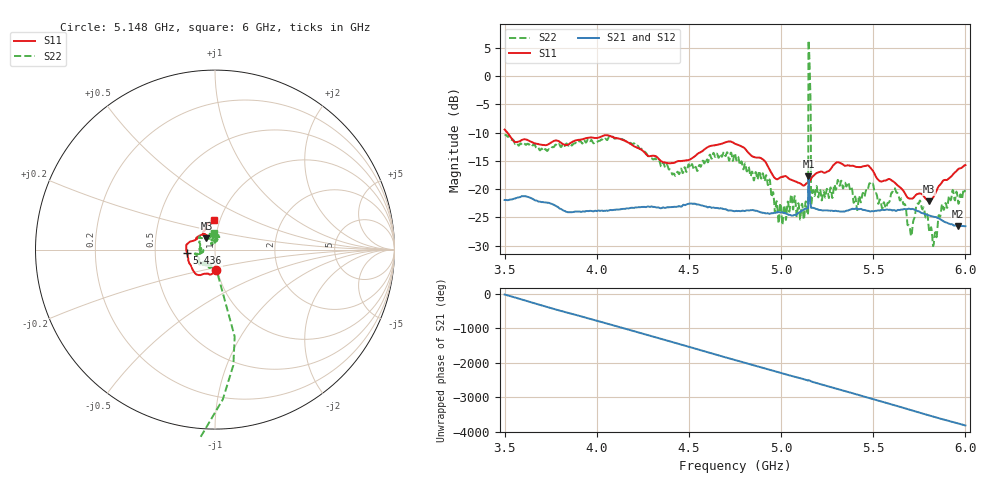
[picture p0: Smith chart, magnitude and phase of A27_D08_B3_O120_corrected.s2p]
! Created with skrf 1.9.0 (http://scikit-rf.org).
# Hz S RI R 50.0
!freq ReS11 ImS11 ReS21 ImS21 ReS12 ImS12 ReS22 ImS22
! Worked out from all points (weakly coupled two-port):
!   1601 points, 3.5 GHz to 6 GHz, reference 50 ohm
!   highest |S21| = -17.72 dB at 5.148 GHz (marker M1); lowest = -26.6 dB at 5.959 GHz (marker M2)
!   lowest |S11| = -22.1 dB at 5.803 GHz (marker M3), VSWR 1.17, Z = 45.1 + j5.62 ohm
!   |S11| at or under -10 dB: 3.515 GHz to end of sweep
!   |S22| runs from -30.1 to 6.3 dB; largest |S21 - S12| = 0.0011
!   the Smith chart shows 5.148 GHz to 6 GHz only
!   S11 on the Smith chart (normalised r, x): 5.148 GHz: 0.99, -0.23; 5.436 GHz: 0.73, -0.03; 6 GHz: 0.93, +0.31
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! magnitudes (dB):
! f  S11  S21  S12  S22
! 3.5 GHz  -9.5  -21.9  -21.9  -10.5
! 3.917 GHz  -11.2  -24.0  -24.0  -11.8
! 4.334 GHz  -14.6  -23.2  -23.2  -14.9
! 4.75 GHz  -12.0  -23.9  -23.8  -13.7
! 4.928 GHz  -16.0  -24.3  -24.3  -19.3
! 4.997 GHz  -17.9  -24.1  -24.1  -22.5
! 5.114 GHz  -19.2  -23.8  -23.8  -22.6
! 5.134 GHz  -19.1  -23.4  -23.4  -22.2
! 5.148 GHz  -18.7  -17.7  -17.7  6.3
! 5.161 GHz  -18.3  -22.8  -22.8  -6.1
! 5.167 GHz  -17.9  -23.3  -23.3  -21.9
! 5.175 GHz  -17.7  -23.3  -23.3  -20.2
! 5.436 GHz  -16.1  -23.5  -23.5  -21.8
! 5.584 GHz  -18.2  -23.6  -23.6  -22.4
! 5.625 GHz  -19.1  -23.8  -23.8  -20.6
! 5.7 GHz  -21.7  -23.5  -23.5  -27.2
! 5.748 GHz  -20.8  -23.9  -23.9  -22.4
! 5.803 GHz  -22.1  -24.6  -24.6  -27.3
! 5.833 GHz  -21.0  -24.9  -24.9  -28.2
! 5.88 GHz  -18.5  -25.6  -25.6  -23.3
! 5.959 GHz  -16.5  -26.6  -26.5  -22.0
! 6 GHz  -15.8  -26.6  -26.5  -20.5
